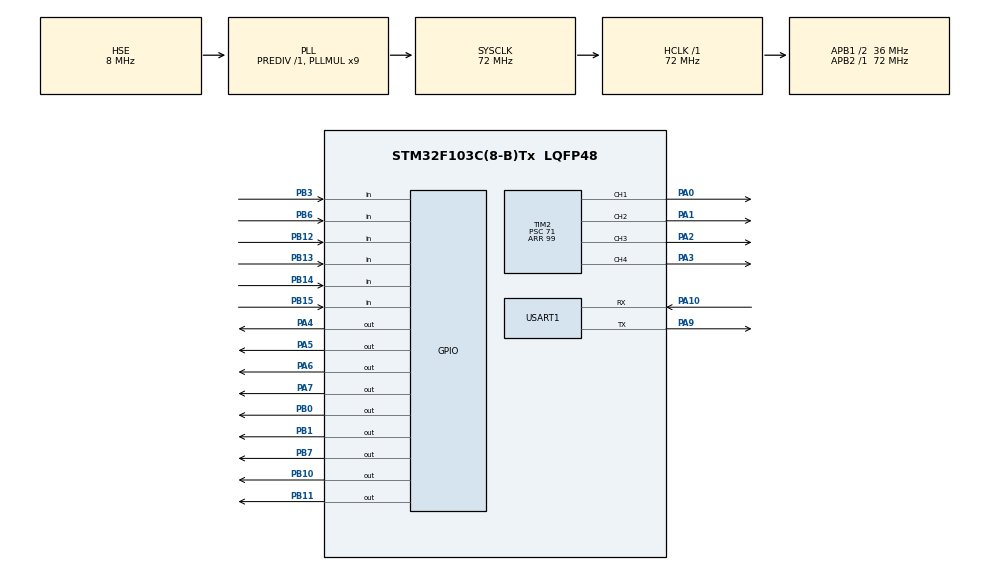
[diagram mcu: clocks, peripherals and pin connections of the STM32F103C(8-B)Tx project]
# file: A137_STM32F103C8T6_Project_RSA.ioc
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Mcu.Family=STM32F1
Mcu.Name=STM32F103C(8-B)Tx
Mcu.Package=LQFP48
NVIC.FLASH_IRQn=true\:0\:0\:false\:false\:true\:true\:true\:true
NVIC.PVD_IRQn=true\:0\:0\:false\:false\:true\:true\:true\:true
NVIC.PriorityGroup=NVIC_PRIORITYGROUP_4
NVIC.RCC_IRQn=true\:0\:0\:false\:false\:true\:true\:false\:true
NVIC.TIM2_IRQn=true\:0\:0\:false\:false\:true\:true\:true\:true
NVIC.TIM4_IRQn=true\:0\:0\:false\:false\:true\:true\:true\:true
NVIC.USART1_IRQn=true\:0\:0\:false\:false\:true\:true\:true\:true
PA0-WKUP.GPIO_Speed=GPIO_SPEED_FREQ_MEDIUM
PA0-WKUP.Signal=S_TIM2_CH1_ETR
PA1.GPIO_Speed=GPIO_SPEED_FREQ_MEDIUM
PA1.Signal=S_TIM2_CH2
PA10.Mode=Asynchronous
PA10.Signal=USART1_RX
PA13.Mode=Serial_Wire
PA13.Signal=SYS_JTMS-SWDIO
PA14.Mode=Serial_Wire
PA14.Signal=SYS_JTCK-SWCLK
PA2.GPIO_Speed=GPIO_SPEED_FREQ_MEDIUM
PA2.Signal=S_TIM2_CH3
PA3.GPIO_Speed=GPIO_SPEED_FREQ_MEDIUM
PA3.Signal=S_TIM2_CH4
PA4.Signal=GPIO_Output
PA5.Signal=GPIO_Output
PA6.Signal=GPIO_Output
PA7.Signal=GPIO_Output
PA9.Mode=Asynchronous
PA9.Signal=USART1_TX
PB0.Signal=GPIO_Output
PB1.Signal=GPIO_Output
PB10.Signal=GPIO_Output
PB11.Signal=GPIO_Output
PB12.GPIO_PuPd=GPIO_PULLUP
PB12.Signal=GPIO_Input
PB13.GPIO_PuPd=GPIO_PULLUP
PB13.Signal=GPIO_Input
PB14.GPIO_PuPd=GPIO_PULLUP
PB14.Signal=GPIO_Input
PB15.GPIO_PuPd=GPIO_PULLDOWN
PB15.Signal=GPIO_Input
PB3.GPIO_PuPd=GPIO_PULLUP
PB3.Signal=GPIO_Input
PB6.Signal=GPIO_Input
PB7.GPIO_Speed=GPIO_SPEED_FREQ_MEDIUM
PB7.Signal=GPIO_Output
PD0-OSC_IN.Mode=HSE-External-Oscillator
PD0-OSC_IN.Signal=RCC_OSC_IN
PD1-OSC_OUT.Mode=HSE-External-Oscillator
PD1-OSC_OUT.Signal=RCC_OSC_OUT
ProjectManager.HeapSize=0x200
ProjectManager.StackSize=0x400
ProjectManager.TargetToolchain=STM32CubeIDE
RCC.AHBFreq_Value=72000000
RCC.APB1CLKDivider=RCC_HCLK_DIV2
RCC.APB1Freq_Value=36000000
RCC.APB1TimFreq_Value=72000000
RCC.APB2Freq_Value=72000000
RCC.APB2TimFreq_Value=72000000
RCC.HCLKFreq_Value=72000000
RCC.PLLMUL=RCC_PLL_MUL9
RCC.PLLSourceVirtual=RCC_PLLSOURCE_HSE
RCC.SYSCLKFreq_VALUE=72000000
RCC.SYSCLKSource=RCC_SYSCLKSOURCE_PLLCLK
RCC.USBFreq_Value=72000000
SH.S_TIM2_CH1_ETR.0=TIM2_CH1,PWM Generation1 CH1
SH.S_TIM2_CH2.0=TIM2_CH2,PWM Generation2 CH2
SH.S_TIM2_CH3.0=TIM2_CH3,PWM Generation3 CH3
SH.S_TIM2_CH4.0=TIM2_CH4,PWM Generation4 CH4
TIM1.Prescaler=71
TIM2.Channel-PWM\ Generation1\ CH1=TIM_CHANNEL_1
TIM2.Channel-PWM\ Generation2\ CH2=TIM_CHANNEL_2
TIM2.Channel-PWM\ Generation3\ CH3=TIM_CHANNEL_3
TIM2.Channel-PWM\ Generation4\ CH4=TIM_CHANNEL_4
TIM2.Period=99
TIM2.Prescaler=71
TIM4.Prescaler=71
USART1.VirtualMode=VM_ASYNC
VP_TIM1_VS_ClockSourceINT.Mode=Internal
VP_TIM4_VS_ClockSourceITR.Mode=TriggerSource_ITR0
board=custom

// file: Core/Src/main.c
/* USER CODE BEGIN Header */
/**
  ******************************************************************************
  * @file           : main.c
  * @brief          : Main program body
  ******************************************************************************
  * @attention
  *
  * Copyright (c) 2026 STMicroelectronics.
  * All rights reserved.
  *
  * This software is licensed under terms that can be found in the LICENSE file
  * in the root directory of this software component.
  * If no LICENSE file comes with this software, it is provided AS-IS.
  *
  ******************************************************************************
  */

/* USER CODE END Header */
#include "main.h"

/* USER CODE BEGIN Includes */
#include <stdio.h>
#include <stdarg.h>

/* Private includes ----------------------------------------------------------*/
/* USER CODE BEGIN Includes */
// Project: 4WD Robot Car with STM32 & L298N
// Structure:
// (LF_Motor) \           / (RF_Motor)
//             \         /
//              \_______/
//              /       \
//             /         \
// (LB_Motor) /           \ (RB_Motor)
/* USER CODE END Includes */

/* USER CODE BEGIN PTD */

typedef struct {
    // Port và Pin cho các chân hướng (GPIO)
    GPIO_TypeDef* Port_IN;
    uint16_t      Pin_IN1;
    uint16_t      Pin_IN2;
    uint16_t      Pin_IN3;
    uint16_t      Pin_IN4;

    // Timer và Channel cho xung PWM (ENA, ENB)
    TIM_HandleTypeDef* htim;
    uint32_t           Channel_A;
    uint32_t           Channel_B;

    uint32_t           Max_Duty;  // Giá trị ARR (Period)
} L298_Config;

typedef struct {
    GPIO_TypeDef* Port_IN;
    uint16_t      Pin_IN1;
    uint16_t      Pin_IN2;
    uint16_t      Pin_IN3;
    uint16_t      Pin_IN4;
    uint16_t      Pin_IN5;

}TCRT_5000_Config;

typedef struct {
    TIM_HandleTypeDef* htim;
    uint32_t Channel;
} ECHO_PIN;

typedef struct {
    GPIO_TypeDef* Port_IN;
    uint16_t TRIG_PIN;
    ECHO_PIN echo;
} HC_SR_04_Config;

/* USER CODE END PTD */

/* USER CODE BEGIN PD */

#define Temp_ECHO_PORT GPIOB         //temporary value for copy from Youtube
#define Temp_ECHO_PIN GPIO_PIN_6

// Pin Definitions for Port A
#define IN1_LF_PIN GPIO_PIN_4
#define IN2_LF_PIN GPIO_PIN_5
#define IN3_LB_PIN GPIO_PIN_6
#define IN4_LB_PIN GPIO_PIN_7

// Pin Definitions for Port B
#define IN1_RF_PIN GPIO_PIN_0
#define IN2_RF_PIN GPIO_PIN_1
#define IN3_RB_PIN GPIO_PIN_10
#define IN4_RB_PIN GPIO_PIN_11

#define	Left_Point GPIO_PIN_3
#define	LM_Point GPIO_PIN_15
#define	Middle_Point GPIO_PIN_14
#define	RM_Point GPIO_PIN_13
#define	Right_Point GPIO_PIN_12

/* USER CODE END PD */

TIM_HandleTypeDef htim1;
TIM_HandleTypeDef htim2;
TIM_HandleTypeDef htim4;

UART_HandleTypeDef huart1;

/* USER CODE BEGIN PV */
char buff[100];

void mPrint(const char *format, ...)
{
    va_list args;
    va_start(args, format);

    int len = vsnprintf(buff, sizeof(buff), format, args);

    va_end(args);

    if (len > 0)
    {
        HAL_UART_Transmit(&huart1, (uint8_t*)buff, len, 100);
    }
}

// Khởi tạo Struct cho Driver bên Trái (LF & LB)
L298_Config L298_Left = {
    .Port_IN   = GPIOA,
    .Pin_IN1   = IN1_LF_PIN,
    .Pin_IN2   = IN2_LF_PIN,
    .Pin_IN3   = IN3_LB_PIN,
    .Pin_IN4   = IN4_LB_PIN,
    .htim      = &htim2,
    .Channel_A = TIM_CHANNEL_1, // ENA
    .Channel_B = TIM_CHANNEL_2, // ENB
    .Max_Duty  = 99             // Khớp với ARR trong MX_TIM2_Init
};

// Khởi tạo Struct cho Driver bên Phải (RF & RB)
L298_Config L298_Right = {
    .Port_IN   = GPIOB,
    .Pin_IN1   = IN1_RF_PIN,
    .Pin_IN2   = IN2_RF_PIN,
    .Pin_IN3   = IN3_RB_PIN,
    .Pin_IN4   = IN4_RB_PIN,
    .htim      = &htim2,
    .Channel_A = TIM_CHANNEL_3,
    .Channel_B = TIM_CHANNEL_4,
    .Max_Duty  = 99
};

// Khởi tạo Struct cho TCRT5000
TCRT_5000_Config TCRT5000 = {
	.Port_IN = GPIOB,
	.Pin_IN1	=	Left_Point,
	.Pin_IN2	=	LM_Point,
	.Pin_IN3	=	Middle_Point,
	.Pin_IN4	=	RM_Point,
	.Pin_IN5	=	Right_Point,
};

// Khởi tạo Struct cho Sensor HC-SR-04
HC_SR_04_Config HC_SR_04_ = {
    .Port_IN = GPIOB,
    .TRIG_PIN = GPIO_PIN_7,
    .echo = {
        .htim = &htim4,
        .Channel = TIM_CHANNEL_3
    }
};

volatile uint32_t Value1 = 0;
volatile uint32_t Value2 = 0;
volatile uint32_t Difference = 0;
volatile uint32_t pMillis = 0;
volatile uint8_t  Is_First_Captured = 0;
volatile float    Distance = 0;
uint8_t s1; // Trái ngoài
uint8_t s2;// Trái trong
uint8_t s3; // Giữa
uint8_t s4;
uint8_t s5;

/* USER CODE END PV */

void SystemClock_Config(void);
static void MX_GPIO_Init(void);
static void MX_TIM2_Init(void);
static void MX_TIM4_Init(void);
static void MX_USART1_UART_Init(void);
static void MX_TIM1_Init(void);
/* USER CODE BEGIN PFP */
//void L298_SetSpeed(L298_Config *dev, int16_t speed_A, int16_t speed_B);
//void L298_Stop(L298_Config *dev);
//void LineFollower_Logic(void);
/* USER CODE END PFP */

/* USER CODE BEGIN 0 */

#define PWM_MAX 99

void SetOneMotor(GPIO_TypeDef* port, uint16_t pin1, uint16_t pin2,
                 TIM_HandleTypeDef *htim, uint32_t channel,
                 int speed)
{
    if(speed > PWM_MAX) speed = PWM_MAX;
    if(speed < -PWM_MAX) speed = -PWM_MAX;

    if(speed > 0)
    {
        HAL_GPIO_WritePin(port, pin1, GPIO_PIN_SET);
        HAL_GPIO_WritePin(port, pin2, GPIO_PIN_RESET);
        __HAL_TIM_SET_COMPARE(htim, channel, speed);
    }
    else if(speed < 0)
    {
        HAL_GPIO_WritePin(port, pin1, GPIO_PIN_RESET);
        HAL_GPIO_WritePin(port, pin2, GPIO_PIN_SET);
        __HAL_TIM_SET_COMPARE(htim, channel, -speed);
    }
    else
    {
        __HAL_TIM_SET_COMPARE(htim, channel, 0);
    }
}

// code điều chỉnh cả thẩy 4 động cơ
void SetMotor4(int fl, int lb, int fr, int rb)
{
    // ===== LEFT SIDE =====
    SetOneMotor(L298_Left.Port_IN, L298_Left.Pin_IN1, L298_Left.Pin_IN2,L298_Left.htim, L298_Left.Channel_A, fl); // Front Left
    SetOneMotor(L298_Left.Port_IN, L298_Left.Pin_IN3, L298_Left.Pin_IN4,L298_Left.htim, L298_Left.Channel_B, lb); // Back Left
    // ===== RIGHT SIDE =====
    SetOneMotor(L298_Right.Port_IN, L298_Right.Pin_IN1, L298_Right.Pin_IN2,L298_Right.htim, L298_Right.Channel_A, fr); // Front Right
    SetOneMotor(L298_Right.Port_IN, L298_Right.Pin_IN3, L298_Right.Pin_IN4,L298_Right.htim, L298_Right.Channel_B, rb); // Back Right
}

uint8_t s1;
uint8_t s2;
uint8_t s3;
uint8_t s4;
uint8_t s5;

int error = 0;

int Read_Line_Error(void)
{
    s1 = HAL_GPIO_ReadPin(TCRT5000.Port_IN, TCRT5000.Pin_IN1); // L
    s2 = HAL_GPIO_ReadPin(TCRT5000.Port_IN, TCRT5000.Pin_IN2); // LM
    s3 = HAL_GPIO_ReadPin(TCRT5000.Port_IN, TCRT5000.Pin_IN3); // M
    s4 = HAL_GPIO_ReadPin(TCRT5000.Port_IN, TCRT5000.Pin_IN4); // RM
    s5 = HAL_GPIO_ReadPin(TCRT5000.Port_IN, TCRT5000.Pin_IN5); // R

    // ===== Nếu logic bị ngược thì mở dòng này =====
    s1 = !s1; s2 = !s2; s3 = !s3; s4 = !s4; s5 = !s5;
if(s1 == s2 && s2 == s3 && s3 == s4 && s4 == s5 )
{
 int error = -1;
 return error;
}
else{
    int error = 0;
    int count = 0;

    if(s1) { error += -2; count++; }
    if(s2) { error += -1; count++; }
    if(s3) { error +=  0; count++; }
    if(s4) { error +=  1; count++; }
    if(s5) { error +=  2; count++; }

    static int last_error = 0;

    if(count != 0)
    {
        error = error / count;
        last_error = error;
    }
    else
    {
        // Mất line → quay theo hướng cũ
        if(last_error < 0) error = -3;
        else error = 3;
    }

    return error;}
}

void SetMotor(int left, int right)
{
    SetMotor4(left, left, right, right);
}

void Navigate(void)
{

	int error = Read_Line_Error();

	if (error == -1)
	{
		SetMotor(0,0);
	}
	else
	{
    int base = 80;   // <= PWM_MAX (99)
    int Kp = 20;

    int left  = base + Kp * error;
    int right = base - Kp * error;

    SetMotor(left, right);}
}

/**
  * @brief Cài đặt tốc độ và hướng cho 1 cụm L298
  * speed: -99 đến 99 (âm là lùi, dương là tiến)
  */

/* USER CODE END 0 */

int main(void)
{

  /* MCU Configuration--------------------------------------------------------*/

  /* Reset of all peripherals, Initializes the Flash interface and the Systick. */
  HAL_Init();

  /* Configure the system clock */
  SystemClock_Config();

  /* Initialize all configured peripherals */
  MX_GPIO_Init();
  MX_TIM2_Init();
  MX_TIM4_Init();
  MX_USART1_UART_Init();
  MX_TIM1_Init();
  /* USER CODE BEGIN 2 */

  // Start PWM cho tất cả các kênh trên TIM2
  HAL_TIM_PWM_Start(&htim2, TIM_CHANNEL_1);
  HAL_TIM_PWM_Start(&htim2, TIM_CHANNEL_2);
  HAL_TIM_PWM_Start(&htim2, TIM_CHANNEL_3);
  HAL_TIM_PWM_Start(&htim2, TIM_CHANNEL_4);
  __HAL_TIM_MOE_ENABLE(&htim2);

  // Start PWM cho tất cả các kênh trên TIM4
  HAL_TIM_IC_Start_IT(&htim4, TIM_CHANNEL_3);

  HAL_TIM_Base_Start(&htim1);
  HAL_GPIO_WritePin(HC_SR_04_.Port_IN, HC_SR_04_.TRIG_PIN, GPIO_PIN_RESET);  // pull the TRIG pin low

  /* USER CODE END 2 */

  /* Infinite loop */
  /* USER CODE BEGIN WHILE */
  while (1)
  {
//	  LineFollower_Logic();
//	  HAL_Delay(5);
//	  __HAL_TIM_SET_COMPARE(&htim2,TIM_CHANNEL_3, 100);
//	  HAL_GPIO_WritePin(GPIOB, GPIO_PIN_12, 0);
//	  HAL_GPIO_WritePin(GPIOB, GPIO_PIN_13, 1);

    /* USER CODE END WHILE */
	  Navigate();
	  HAL_Delay(1);
  }
}

void SystemClock_Config(void)
{
  RCC_OscInitTypeDef RCC_OscInitStruct = {0};
  RCC_ClkInitTypeDef RCC_ClkInitStruct = {0};

  /** Initializes the RCC Oscillators according to the specified parameters
  * in the RCC_OscInitTypeDef structure.
  */
  RCC_OscInitStruct.OscillatorType = RCC_OSCILLATORTYPE_HSE;
  RCC_OscInitStruct.HSEState = RCC_HSE_ON;
  RCC_OscInitStruct.HSEPredivValue = RCC_HSE_PREDIV_DIV1;
  RCC_OscInitStruct.HSIState = RCC_HSI_ON;
  RCC_OscInitStruct.PLL.PLLState = RCC_PLL_ON;
  RCC_OscInitStruct.PLL.PLLSource = RCC_PLLSOURCE_HSE;
  RCC_OscInitStruct.PLL.PLLMUL = RCC_PLL_MUL9;
  if (HAL_RCC_OscConfig(&RCC_OscInitStruct) != HAL_OK)
  {
    Error_Handler();
  }

  /** Initializes the CPU, AHB and APB buses clocks
  */
  RCC_ClkInitStruct.ClockType = RCC_CLOCKTYPE_HCLK|RCC_CLOCKTYPE_SYSCLK
                              |RCC_CLOCKTYPE_PCLK1|RCC_CLOCKTYPE_PCLK2;
  RCC_ClkInitStruct.SYSCLKSource = RCC_SYSCLKSOURCE_PLLCLK;
  RCC_ClkInitStruct.AHBCLKDivider = RCC_SYSCLK_DIV1;
  RCC_ClkInitStruct.APB1CLKDivider = RCC_HCLK_DIV2;
  RCC_ClkInitStruct.APB2CLKDivider = RCC_HCLK_DIV1;

  if (HAL_RCC_ClockConfig(&RCC_ClkInitStruct, FLASH_LATENCY_2) != HAL_OK)
  {
    Error_Handler();
  }
}

static void MX_TIM1_Init(void)
{

  TIM_ClockConfigTypeDef sClockSourceConfig = {0};
  TIM_MasterConfigTypeDef sMasterConfig = {0};

  htim1.Instance = TIM1;
  htim1.Init.Prescaler = 71;
  htim1.Init.CounterMode = TIM_COUNTERMODE_UP;
  htim1.Init.Period = 65535;
  htim1.Init.ClockDivision = TIM_CLOCKDIVISION_DIV1;
  htim1.Init.RepetitionCounter = 0;
  htim1.Init.AutoReloadPreload = TIM_AUTORELOAD_PRELOAD_DISABLE;
  if (HAL_TIM_Base_Init(&htim1) != HAL_OK)
  {
    Error_Handler();
  }
  sClockSourceConfig.ClockSource = TIM_CLOCKSOURCE_INTERNAL;
  if (HAL_TIM_ConfigClockSource(&htim1, &sClockSourceConfig) != HAL_OK)
  {
    Error_Handler();
  }
  sMasterConfig.MasterOutputTrigger = TIM_TRGO_RESET;
  sMasterConfig.MasterSlaveMode = TIM_MASTERSLAVEMODE_DISABLE;
  if (HAL_TIMEx_MasterConfigSynchronization(&htim1, &sMasterConfig) != HAL_OK)
  {
    Error_Handler();
  }

}

static void MX_TIM2_Init(void)
{

  TIM_MasterConfigTypeDef sMasterConfig = {0};
  TIM_OC_InitTypeDef sConfigOC = {0};

  htim2.Instance = TIM2;
  htim2.Init.Prescaler = 71;
  htim2.Init.CounterMode = TIM_COUNTERMODE_UP;
  htim2.Init.Period = 99;
  htim2.Init.ClockDivision = TIM_CLOCKDIVISION_DIV1;
  htim2.Init.AutoReloadPreload = TIM_AUTORELOAD_PRELOAD_DISABLE;
  if (HAL_TIM_PWM_Init(&htim2) != HAL_OK)
  {
    Error_Handler();
  }
  sMasterConfig.MasterOutputTrigger = TIM_TRGO_RESET;
  sMasterConfig.MasterSlaveMode = TIM_MASTERSLAVEMODE_DISABLE;
  if (HAL_TIMEx_MasterConfigSynchronization(&htim2, &sMasterConfig) != HAL_OK)
  {
    Error_Handler();
  }
  sConfigOC.OCMode = TIM_OCMODE_PWM1;
  sConfigOC.Pulse = 0;
  sConfigOC.OCPolarity = TIM_OCPOLARITY_HIGH;
  sConfigOC.OCFastMode = TIM_OCFAST_DISABLE;
  if (HAL_TIM_PWM_ConfigChannel(&htim2, &sConfigOC, TIM_CHANNEL_1) != HAL_OK)
  {
    Error_Handler();
  }
  if (HAL_TIM_PWM_ConfigChannel(&htim2, &sConfigOC, TIM_CHANNEL_2) != HAL_OK)
  {
    Error_Handler();
  }
  if (HAL_TIM_PWM_ConfigChannel(&htim2, &sConfigOC, TIM_CHANNEL_3) != HAL_OK)
  {
    Error_Handler();
  }
  if (HAL_TIM_PWM_ConfigChannel(&htim2, &sConfigOC, TIM_CHANNEL_4) != HAL_OK)
  {
    Error_Handler();
  }
  HAL_TIM_MspPostInit(&htim2);

}

static void MX_TIM4_Init(void)
{

  TIM_SlaveConfigTypeDef sSlaveConfig = {0};
  TIM_MasterConfigTypeDef sMasterConfig = {0};

  htim4.Instance = TIM4;
  htim4.Init.Prescaler = 71;
  htim4.Init.CounterMode = TIM_COUNTERMODE_UP;
  htim4.Init.Period = 65535;
  htim4.Init.ClockDivision = TIM_CLOCKDIVISION_DIV1;
  htim4.Init.AutoReloadPreload = TIM_AUTORELOAD_PRELOAD_DISABLE;
  if (HAL_TIM_Base_Init(&htim4) != HAL_OK)
  {
    Error_Handler();
  }
  sSlaveConfig.SlaveMode = TIM_SLAVEMODE_DISABLE;
  sSlaveConfig.InputTrigger = TIM_TS_ITR0;
  if (HAL_TIM_SlaveConfigSynchro(&htim4, &sSlaveConfig) != HAL_OK)
  {
    Error_Handler();
  }
  sMasterConfig.MasterOutputTrigger = TIM_TRGO_RESET;
  sMasterConfig.MasterSlaveMode = TIM_MASTERSLAVEMODE_DISABLE;
  if (HAL_TIMEx_MasterConfigSynchronization(&htim4, &sMasterConfig) != HAL_OK)
  {
    Error_Handler();
  }

}

static void MX_USART1_UART_Init(void)
{

  huart1.Instance = USART1;
  huart1.Init.BaudRate = 115200;
  huart1.Init.WordLength = UART_WORDLENGTH_8B;
  huart1.Init.StopBits = UART_STOPBITS_1;
  huart1.Init.Parity = UART_PARITY_NONE;
  huart1.Init.Mode = UART_MODE_TX_RX;
  huart1.Init.HwFlowCtl = UART_HWCONTROL_NONE;
  huart1.Init.OverSampling = UART_OVERSAMPLING_16;
  if (HAL_UART_Init(&huart1) != HAL_OK)
  {
    Error_Handler();
  }

}

static void MX_GPIO_Init(void)
{
  GPIO_InitTypeDef GPIO_InitStruct = {0};

  /* GPIO Ports Clock Enable */
  __HAL_RCC_GPIOD_CLK_ENABLE();
  __HAL_RCC_GPIOA_CLK_ENABLE();
  __HAL_RCC_GPIOB_CLK_ENABLE();

  /*Configure GPIO pin Output Level */
  HAL_GPIO_WritePin(GPIOA, GPIO_PIN_4|GPIO_PIN_5|GPIO_PIN_6|GPIO_PIN_7, GPIO_PIN_RESET);

  /*Configure GPIO pin Output Level */
  HAL_GPIO_WritePin(GPIOB, GPIO_PIN_0|GPIO_PIN_1|GPIO_PIN_10|GPIO_PIN_11
                          |GPIO_PIN_7, GPIO_PIN_RESET);

  /*Configure GPIO pins : PA4 PA5 PA6 PA7 */
  GPIO_InitStruct.Pin = GPIO_PIN_4|GPIO_PIN_5|GPIO_PIN_6|GPIO_PIN_7;
  GPIO_InitStruct.Mode = GPIO_MODE_OUTPUT_PP;
  GPIO_InitStruct.Pull = GPIO_NOPULL;
  GPIO_InitStruct.Speed = GPIO_SPEED_FREQ_LOW;
  HAL_GPIO_Init(GPIOA, &GPIO_InitStruct);

  /*Configure GPIO pins : PB0 PB1 PB10 PB11 */
  GPIO_InitStruct.Pin = GPIO_PIN_0|GPIO_PIN_1|GPIO_PIN_10|GPIO_PIN_11;
  GPIO_InitStruct.Mode = GPIO_MODE_OUTPUT_PP;
  GPIO_InitStruct.Pull = GPIO_NOPULL;
  GPIO_InitStruct.Speed = GPIO_SPEED_FREQ_LOW;
  HAL_GPIO_Init(GPIOB, &GPIO_InitStruct);

  /*Configure GPIO pins : PB12 PB13 PB14 PB3 */
  GPIO_InitStruct.Pin = GPIO_PIN_12|GPIO_PIN_13|GPIO_PIN_14|GPIO_PIN_3;
  GPIO_InitStruct.Mode = GPIO_MODE_INPUT;
  GPIO_InitStruct.Pull = GPIO_PULLUP;
  HAL_GPIO_Init(GPIOB, &GPIO_InitStruct);

  /*Configure GPIO pin : PB15 */
  GPIO_InitStruct.Pin = GPIO_PIN_15;
  GPIO_InitStruct.Mode = GPIO_MODE_INPUT;
  GPIO_InitStruct.Pull = GPIO_PULLDOWN;
  HAL_GPIO_Init(GPIOB, &GPIO_InitStruct);

  /*Configure GPIO pin : PB6 */
  GPIO_InitStruct.Pin = GPIO_PIN_6;
  GPIO_InitStruct.Mode = GPIO_MODE_INPUT;
  GPIO_InitStruct.Pull = GPIO_NOPULL;
  HAL_GPIO_Init(GPIOB, &GPIO_InitStruct);

  /*Configure GPIO pin : PB7 */
  GPIO_InitStruct.Pin = GPIO_PIN_7;
  GPIO_InitStruct.Mode = GPIO_MODE_OUTPUT_PP;
  GPIO_InitStruct.Pull = GPIO_NOPULL;
  GPIO_InitStruct.Speed = GPIO_SPEED_FREQ_MEDIUM;
  HAL_GPIO_Init(GPIOB, &GPIO_InitStruct);

  /* USER CODE BEGIN MX_GPIO_Init_2 */
  GPIO_InitStruct.Pin = GPIO_PIN_8;
  GPIO_InitStruct.Mode = GPIO_MODE_INPUT;
  GPIO_InitStruct.Pull = GPIO_NOPULL;
  HAL_GPIO_Init(GPIOB, &GPIO_InitStruct);
  /* USER CODE END MX_GPIO_Init_2 */
}

/* USER CODE BEGIN 4 */
/* USER CODE BEGIN 4 */

/**
 *
 *
 *
 * @brief Đọc khoảng cách từ cảm biến HC-SR04 (Tính bằng cm)
 */
float HCSR04_Read(void) {
    uint32_t local_time = 0;
    uint32_t timeout = 0;

    // 1. Trigger 10us
    HAL_GPIO_WritePin(HC_SR_04_.Port_IN, HC_SR_04_.TRIG_PIN, GPIO_PIN_SET);
    for(int i = 0; i < 720; i++) __NOP();  // ~10us @72MHz
    HAL_GPIO_WritePin(HC_SR_04_.Port_IN, HC_SR_04_.TRIG_PIN, GPIO_PIN_RESET);

    // 2. Chờ ECHO lên HIGH
    timeout = 0;
    while (HAL_GPIO_ReadPin(HC_SR_04_.Port_IN, GPIO_PIN_8) == GPIO_PIN_RESET) {
        if (timeout++ > 30000) return -1; // Không nhận được echo
    }

    // 3. Đếm thời gian ECHO HIGH
    timeout = 0;
    while (HAL_GPIO_ReadPin(HC_SR_04_.Port_IN, GPIO_PIN_8) == GPIO_PIN_SET) {
        local_time++;
        if (timeout++ > 30000) break; // tránh treo
    }

    // 4. Tính khoảng cách
    return (float)local_time * 0.01715f;
}

void HCSR04_Trigger(void) {
    HAL_GPIO_WritePin(HC_SR_04_.Port_IN, HC_SR_04_.TRIG_PIN, GPIO_PIN_SET);
    // Delay 10us chuẩn dùng NOP để tránh compiler tối ưu xóa mất
    for(int i=0; i<500; i++) __NOP();
    HAL_GPIO_WritePin(HC_SR_04_.Port_IN, HC_SR_04_.TRIG_PIN, GPIO_PIN_RESET);
}

//void HAL_TIM_IC_CaptureCallback(TIM_HandleTypeDef *htim)
//{
//    if (htim->Instance == TIM4) // Kiểm tra đúng Timer 4
//    {
//        if (htim->Channel == HAL_TIM_ACTIVE_CHANNEL_3) // Đúng Channel 3
//        {
//            if (Is_First_Captured == 0) // Nếu là cạnh lên (Bắt đầu xung Echo)
//            {
//                IC_Val1 = HAL_TIM_ReadCapturedValue(htim, TIM_CHANNEL_3); // Đọc giá trị Timer lần 1
//                Is_First_Captured = 1;  // Đặt cờ đã xong lần 1
//
//                // Đổi cấu hình sang bắt cạnh xuống (Falling edge) cho lần tiếp theo
//                __HAL_TIM_SET_CAPTUREPOLARITY(htim, TIM_CHANNEL_3, TIM_INPUTCHANNELPOLARITY_FALLING);
//            }
//            else if (Is_First_Captured == 1) // Nếu là cạnh xuống (Kết thúc xung Echo)
//            {
//                IC_Val2 = HAL_TIM_ReadCapturedValue(htim, TIM_CHANNEL_3); // Đọc giá trị Timer lần 2
//                __HAL_TIM_SET_COUNTER(htim, 0); // Reset counter về 0 để chuẩn bị cho lần đo sau
//
//                // Tính toán độ lệch thời gian
//                if (IC_Val2 > IC_Val1) {
//                    Difference = IC_Val2 - IC_Val1;
//                } else {
//                    Difference = (0xFFFF - IC_Val1) + IC_Val2; // Xử lý khi tràn Timer (nếu có)
//                }
//
//                // Với Prescaler = 71, mỗi tick = 1us.
//                // Công thức: Khoảng cách = (Thời gian * Vận tốc âm thanh) / 2
//                // Distance = (Difference * 0.0343) / 2 = Difference * 0.01715
//                Distance = (float)Difference * 0.01715;
//
//                Is_First_Captured = 0; // Reset cờ
//
//                // Đổi cấu hình về lại bắt cạnh lên (Rising edge)
//                __HAL_TIM_SET_CAPTUREPOLARITY(htim, TIM_CHANNEL_3, TIM_INPUTCHANNELPOLARITY_RISING);
//
//                // Tạm dừng ngắt để tránh nhiễu, khi nào cần đo mới gọi lại trong Trigger
//                __HAL_TIM_DISABLE_IT(htim, TIM_IT_CC3);
//            }
//        }
//    }
//}

/**
 * @brief Logic dò line kết hợp tránh vật cản
 */
//void LineFollower_Logic(void) {
//    // Đọc trạng thái 5 mắt (1 là thấy line đen, 0 là trắng)
//    uint8_t s1 = HAL_GPIO_ReadPin(TCRT5000.Port_IN, TCRT5000.Pin_IN1); // Trái ngoài
//    uint8_t s2 = HAL_GPIO_ReadPin(TCRT5000.Port_IN, TCRT5000.Pin_IN2); // Trái trong
//    uint8_t s3 = HAL_GPIO_ReadPin(TCRT5000.Port_IN, TCRT5000.Pin_IN3); // Giữa
//    uint8_t s4 = HAL_GPIO_ReadPin(TCRT5000.Port_IN, TCRT5000.Pin_IN4); // Phải trong
//    uint8_t s5 = HAL_GPIO_ReadPin(TCRT5000.Port_IN, TCRT5000.Pin_IN5); // Phải ngoài
//
//    // 1. Check vật cản trước
//    float d = HCSR04_Read();
//    HAL_Delay(60);
//
//    if (d < 15.0 && d > 0) { // Nếu vật cản < 15cm
//        L298_Drive(&L298_Left, 0, 0);  // Dừng xe
//        L298_Drive(&L298_Right, 0, 0);
//        return;
//    }
//
//    // 2. Logic dò line cơ bản (Simple IF-ELSE)
//    if (s3 == 1 && s2 == 0 && s4 == 0) {
//        // Tiến thẳng
//        L298_Drive(&L298_Left, 40, 40);
//        L298_Drive(&L298_Right, 40, 40);
//    }
//    else if (s2 == 1 || s1 == 1) {
//        // Lệch trái -> Rẽ trái (Bánh trái chậm, bánh phải nhanh)
//        L298_Drive(&L298_Left, 10, 10);
//        L298_Drive(&L298_Right, 50, 50);
//    }
//    else if (s4 == 1 || s5 == 1) {
//        // Lệch phải -> Rẽ phải
//        L298_Drive(&L298_Left, 50, 50);
//        L298_Drive(&L298_Right, 10, 10);
//    }
//    else {
//        // Mất line -> Dừng hoặc quay lại tìm
//        L298_Drive(&L298_Left, 20, 20);
//        L298_Drive(&L298_Right, 20, 20);
//    }
//}
/* USER CODE END 4 */

void Error_Handler(void)
{
  __disable_irq();
  while (1)
  {
  }
}
